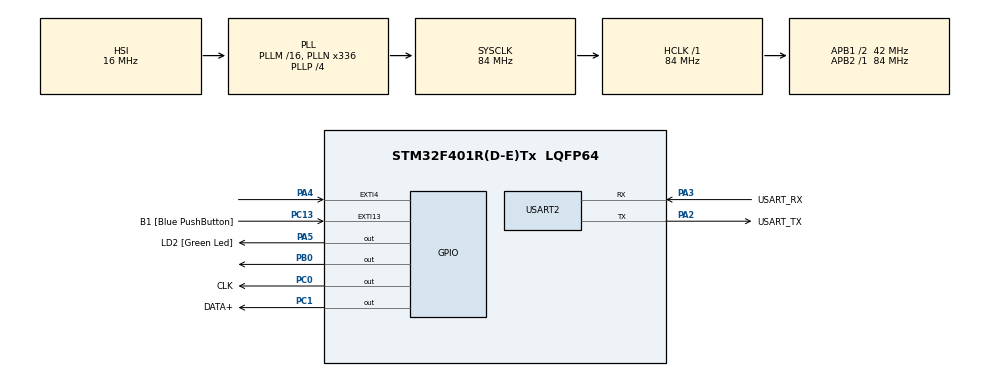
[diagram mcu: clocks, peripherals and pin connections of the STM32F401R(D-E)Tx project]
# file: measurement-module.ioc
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Mcu.Family=STM32F4
Mcu.Name=STM32F401R(D-E)Tx
Mcu.Package=LQFP64
NVIC.EXTI15_10_IRQn=true\:0\:0\:false\:false\:true\:true\:true\:true
NVIC.EXTI4_IRQn=true\:0\:0\:false\:false\:true\:true\:true\:true
NVIC.PriorityGroup=NVIC_PRIORITYGROUP_0
NVIC.TIM1_UP_TIM10_IRQn=true\:0\:0\:false\:false\:true\:true\:true\:true
PA13.GPIO_Label=TMS
PA13.Mode=Serial_Wire
PA13.Signal=SYS_JTMS-SWDIO
PA14.GPIO_Label=TCK
PA14.Mode=Serial_Wire
PA14.Signal=SYS_JTCK-SWCLK
PA2.GPIO_Label=USART_TX
PA2.GPIO_Mode=GPIO_MODE_AF_PP
PA2.GPIO_PuPd=GPIO_NOPULL
PA2.GPIO_Speed=GPIO_SPEED_FREQ_LOW
PA2.Mode=Asynchronous
PA2.Signal=USART2_TX
PA3.GPIO_Label=USART_RX
PA3.GPIO_Mode=GPIO_MODE_AF_PP
PA3.GPIO_PuPd=GPIO_NOPULL
PA3.GPIO_Speed=GPIO_SPEED_FREQ_LOW
PA3.Mode=Asynchronous
PA3.Signal=USART2_RX
PA4.GPIO_ModeDefaultEXTI=GPIO_MODE_IT_FALLING
PA4.Signal=GPXTI4
PA5.GPIO_Label=LD2 [Green Led]
PA5.GPIO_Mode=GPIO_MODE_OUTPUT_PP
PA5.GPIO_PuPd=GPIO_NOPULL
PA5.GPIO_Speed=GPIO_SPEED_FREQ_LOW
PA5.Signal=GPIO_Output
PB0.Signal=GPIO_Output
PB3.GPIO_Label=SWO
PB3.Signal=SYS_JTDO-SWO
PC0.GPIO_Label=CLK
PC0.Signal=GPIO_Output
PC1.GPIO_Label=DATA+
PC1.Signal=GPIO_Output
PC13-ANTI_TAMP.GPIO_Label=B1 [Blue PushButton]
PC13-ANTI_TAMP.GPIO_ModeDefaultEXTI=GPIO_MODE_IT_RISING_FALLING
PC13-ANTI_TAMP.GPIO_PuPd=GPIO_NOPULL
PC13-ANTI_TAMP.Signal=GPXTI13
PC14-OSC32_IN.Mode=LSE-External-Oscillator
PC14-OSC32_IN.Signal=RCC_OSC32_IN
PC15-OSC32_OUT.Mode=LSE-External-Oscillator
PC15-OSC32_OUT.Signal=RCC_OSC32_OUT
PH0\ -\ OSC_IN.Mode=HSE-External-Clock-Source
PH0\ -\ OSC_IN.Signal=RCC_OSC_IN
PH1\ -\ OSC_OUT.Mode=HSE-External-Clock-Source
PH1\ -\ OSC_OUT.Signal=RCC_OSC_OUT
ProjectManager.HeapSize=0x200
ProjectManager.StackSize=0x400
ProjectManager.TargetToolchain=STM32CubeIDE
RCC.48MHZClocksFreq_Value=48000000
RCC.AHBFreq_Value=84000000
RCC.APB1CLKDivider=RCC_HCLK_DIV2
RCC.APB1Freq_Value=42000000
RCC.APB1TimFreq_Value=84000000
RCC.APB2Freq_Value=84000000
RCC.APB2TimFreq_Value=84000000
RCC.CortexFreq_Value=84000000
RCC.HCLKFreq_Value=84000000
RCC.HSE_VALUE=8000000
RCC.HSI_VALUE=16000000
RCC.PLLN=336
RCC.PLLP=RCC_PLLP_DIV4
RCC.PLLQ=7
RCC.SYSCLKFreq_VALUE=84000000
RCC.SYSCLKSource=RCC_SYSCLKSOURCE_PLLCLK
RCC.VCOOutputFreq_Value=336000000
TIM1.Period=1124
TIM1.Prescaler=0
USART2.VirtualMode=VM_ASYNC
VP_TIM1_VS_ClockSourceINT.Mode=Internal
board=NUCLEO-F401RE

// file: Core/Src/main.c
/* USER CODE BEGIN Header */
/**
  ******************************************************************************
  * @file           : main.c
  * @brief          : Main program body
  ******************************************************************************
  * @attention
  *
  * Copyright (c) 2024 STMicroelectronics.
  * All rights reserved.
  *
  * This software is licensed under terms that can be found in the LICENSE file
  * in the root directory of this software component.
  * If no LICENSE file comes with this software, it is provided AS-IS.
  *
  ******************************************************************************
  */
/* USER CODE END Header */
#include "main.h"

/* USER CODE BEGIN Includes */
#include "i2c_tx.h"
#include "ham.h"
#include "lc.h"
/* USER CODE END Includes */

/* USER CODE BEGIN PTD */

typedef struct {
	uint32_t *data;
	size_t length;
} low_pass_filter;

low_pass_filter new_low_pass_filter(size_t length) {
	uint32_t *data = (uint32_t *) malloc(sizeof(uint32_t) * length);
	low_pass_filter filter;
	filter.data = data;
	filter.length = length;
	return filter;
}

uint32_t calculate_low_pass(low_pass_filter filter, uint32_t new_value) {
	uint32_t sum = 0;
	for (int i = 0; i < filter.length - 1; i++) {
		filter.data[i + 1] = filter.data[i];
		sum += filter.data[i];
	}
	return (sum + new_value) / filter.length;
}

/* USER CODE END PTD */

TIM_HandleTypeDef htim1;

UART_HandleTypeDef huart2;

void SystemClock_Config(void);
static void MX_GPIO_Init(void);
static void MX_USART2_UART_Init(void);
static void MX_TIM1_Init(void);

int main(void)
{

  /* MCU Configuration--------------------------------------------------------*/

  /* Reset of all peripherals, Initializes the Flash interface and the Systick. */
  HAL_Init();

  /* Configure the system clock */
  SystemClock_Config();

  /* Initialize all configured peripherals */
  MX_GPIO_Init();
  MX_USART2_UART_Init();
  MX_TIM1_Init();
  /* USER CODE BEGIN 2 */

  void int16_to_bool(uint16_t number, bool arr[16]) {
      for (int i = 0; i < 16; ++i) {
    	  arr[i] = (number >> (15 - i)) & 1;
      }
  }

  I2C_tx_config i2c_config;
  i2c_config.clock_gpio = GPIOC;
  i2c_config.clock_pin = GPIO_PIN_0;
  i2c_config.data_gpio = GPIOC;
  i2c_config.data_pin = GPIO_PIN_1;
  i2c_config.millis_per_tick = 8;
  I2C_tx_driver i2c = new_I2C_tx_driver(i2c_config, 48);

  hx711_config hx711_config;
  hx711_config.dout_gpio = GPIOA;
  hx711_config.dout_pin = GPIO_PIN_4;
  hx711_config.pd_sck_gpio = GPIOB;
  hx711_config.pd_sck_pin = GPIO_PIN_0;
  hx711_config.timer = &htim1;

  init_hx711_driver(hx711_config);

  uint64_t next_data = HAL_GetTick();
  bool data[48];

  uint32_t prev_num = -1;

  /* USER CODE END 2 */

  /* Infinite loop */
  while (1)
  {

    /* USER CODE BEGIN 3 */

	 tick_I2C_tx_driver(&i2c);

	 if (HAL_GetTick() > next_data && poll_hx711_driver(&hx711)) {
		 next_data += 2000;

		 uint32_t num = get_hx711_driver(&hx711);
		 __NOP();
		 if(abs(num-prev_num) < 1500 && num > 15000){ // check if last 2 packets are similar
			 prev_num = num;
			 __NOP();
			 continue;
		 }
		 prev_num = num;
		 __NOP();

		  uint16_t data1 = ham_enc((num >> 22) & 0x7FF);
		  uint16_t data2 = ham_enc((num >> 11) & 0x7FF);
		  uint16_t data3 = ham_enc(num & 0x7FF);

		  int16_to_bool(data1, data);
		  int16_to_bool(data2, data + 16);
		  int16_to_bool(data3, data + 32);

		 send_packet_I2C_driver(&i2c, data);
	 }
  }
  free_I2C_driver(&i2c);
  /* USER CODE END 3 */
}

void SystemClock_Config(void)
{
  RCC_OscInitTypeDef RCC_OscInitStruct = {0};
  RCC_ClkInitTypeDef RCC_ClkInitStruct = {0};

  /** Configure the main internal regulator output voltage
  */
  __HAL_RCC_PWR_CLK_ENABLE();
  __HAL_PWR_VOLTAGESCALING_CONFIG(PWR_REGULATOR_VOLTAGE_SCALE2);

  /** Initializes the RCC Oscillators according to the specified parameters
  * in the RCC_OscInitTypeDef structure.
  */
  RCC_OscInitStruct.OscillatorType = RCC_OSCILLATORTYPE_HSI;
  RCC_OscInitStruct.HSIState = RCC_HSI_ON;
  RCC_OscInitStruct.HSICalibrationValue = RCC_HSICALIBRATION_DEFAULT;
  RCC_OscInitStruct.PLL.PLLState = RCC_PLL_ON;
  RCC_OscInitStruct.PLL.PLLSource = RCC_PLLSOURCE_HSI;
  RCC_OscInitStruct.PLL.PLLM = 16;
  RCC_OscInitStruct.PLL.PLLN = 336;
  RCC_OscInitStruct.PLL.PLLP = RCC_PLLP_DIV4;
  RCC_OscInitStruct.PLL.PLLQ = 7;
  if (HAL_RCC_OscConfig(&RCC_OscInitStruct) != HAL_OK)
  {
    Error_Handler();
  }

  /** Initializes the CPU, AHB and APB buses clocks
  */
  RCC_ClkInitStruct.ClockType = RCC_CLOCKTYPE_HCLK|RCC_CLOCKTYPE_SYSCLK
                              |RCC_CLOCKTYPE_PCLK1|RCC_CLOCKTYPE_PCLK2;
  RCC_ClkInitStruct.SYSCLKSource = RCC_SYSCLKSOURCE_PLLCLK;
  RCC_ClkInitStruct.AHBCLKDivider = RCC_SYSCLK_DIV1;
  RCC_ClkInitStruct.APB1CLKDivider = RCC_HCLK_DIV2;
  RCC_ClkInitStruct.APB2CLKDivider = RCC_HCLK_DIV1;

  if (HAL_RCC_ClockConfig(&RCC_ClkInitStruct, FLASH_LATENCY_2) != HAL_OK)
  {
    Error_Handler();
  }
}

static void MX_TIM1_Init(void)
{

  TIM_ClockConfigTypeDef sClockSourceConfig = {0};
  TIM_MasterConfigTypeDef sMasterConfig = {0};

  htim1.Instance = TIM1;
  htim1.Init.Prescaler = 0;
  htim1.Init.CounterMode = TIM_COUNTERMODE_UP;
  htim1.Init.Period = 1124;
  htim1.Init.ClockDivision = TIM_CLOCKDIVISION_DIV1;
  htim1.Init.RepetitionCounter = 0;
  htim1.Init.AutoReloadPreload = TIM_AUTORELOAD_PRELOAD_DISABLE;
  if (HAL_TIM_Base_Init(&htim1) != HAL_OK)
  {
    Error_Handler();
  }
  sClockSourceConfig.ClockSource = TIM_CLOCKSOURCE_INTERNAL;
  if (HAL_TIM_ConfigClockSource(&htim1, &sClockSourceConfig) != HAL_OK)
  {
    Error_Handler();
  }
  sMasterConfig.MasterOutputTrigger = TIM_TRGO_RESET;
  sMasterConfig.MasterSlaveMode = TIM_MASTERSLAVEMODE_DISABLE;
  if (HAL_TIMEx_MasterConfigSynchronization(&htim1, &sMasterConfig) != HAL_OK)
  {
    Error_Handler();
  }

}

static void MX_USART2_UART_Init(void)
{

  huart2.Instance = USART2;
  huart2.Init.BaudRate = 115200;
  huart2.Init.WordLength = UART_WORDLENGTH_8B;
  huart2.Init.StopBits = UART_STOPBITS_1;
  huart2.Init.Parity = UART_PARITY_NONE;
  huart2.Init.Mode = UART_MODE_TX_RX;
  huart2.Init.HwFlowCtl = UART_HWCONTROL_NONE;
  huart2.Init.OverSampling = UART_OVERSAMPLING_16;
  if (HAL_UART_Init(&huart2) != HAL_OK)
  {
    Error_Handler();
  }

}

static void MX_GPIO_Init(void)
{
  GPIO_InitTypeDef GPIO_InitStruct = {0};

  /* GPIO Ports Clock Enable */
  __HAL_RCC_GPIOC_CLK_ENABLE();
  __HAL_RCC_GPIOH_CLK_ENABLE();
  __HAL_RCC_GPIOA_CLK_ENABLE();
  __HAL_RCC_GPIOB_CLK_ENABLE();

  /*Configure GPIO pin Output Level */
  HAL_GPIO_WritePin(GPIOC, CLK_Pin|DATA__Pin, GPIO_PIN_RESET);

  /*Configure GPIO pin Output Level */
  HAL_GPIO_WritePin(LD2_GPIO_Port, LD2_Pin, GPIO_PIN_RESET);

  /*Configure GPIO pin Output Level */
  HAL_GPIO_WritePin(GPIOB, GPIO_PIN_0, GPIO_PIN_RESET);

  /*Configure GPIO pin : B1_Pin */
  GPIO_InitStruct.Pin = B1_Pin;
  GPIO_InitStruct.Mode = GPIO_MODE_IT_RISING_FALLING;
  GPIO_InitStruct.Pull = GPIO_NOPULL;
  HAL_GPIO_Init(B1_GPIO_Port, &GPIO_InitStruct);

  /*Configure GPIO pins : CLK_Pin DATA__Pin */
  GPIO_InitStruct.Pin = CLK_Pin|DATA__Pin;
  GPIO_InitStruct.Mode = GPIO_MODE_OUTPUT_PP;
  GPIO_InitStruct.Pull = GPIO_NOPULL;
  GPIO_InitStruct.Speed = GPIO_SPEED_FREQ_LOW;
  HAL_GPIO_Init(GPIOC, &GPIO_InitStruct);

  /*Configure GPIO pin : PA4 */
  GPIO_InitStruct.Pin = GPIO_PIN_4;
  GPIO_InitStruct.Mode = GPIO_MODE_IT_FALLING;
  GPIO_InitStruct.Pull = GPIO_NOPULL;
  HAL_GPIO_Init(GPIOA, &GPIO_InitStruct);

  /*Configure GPIO pin : LD2_Pin */
  GPIO_InitStruct.Pin = LD2_Pin;
  GPIO_InitStruct.Mode = GPIO_MODE_OUTPUT_PP;
  GPIO_InitStruct.Pull = GPIO_NOPULL;
  GPIO_InitStruct.Speed = GPIO_SPEED_FREQ_LOW;
  HAL_GPIO_Init(LD2_GPIO_Port, &GPIO_InitStruct);

  /*Configure GPIO pin : PB0 */
  GPIO_InitStruct.Pin = GPIO_PIN_0;
  GPIO_InitStruct.Mode = GPIO_MODE_OUTPUT_PP;
  GPIO_InitStruct.Pull = GPIO_NOPULL;
  GPIO_InitStruct.Speed = GPIO_SPEED_FREQ_LOW;
  HAL_GPIO_Init(GPIOB, &GPIO_InitStruct);

  /* EXTI interrupt init*/
  HAL_NVIC_SetPriority(EXTI4_IRQn, 0, 0);
  HAL_NVIC_EnableIRQ(EXTI4_IRQn);

  HAL_NVIC_SetPriority(EXTI15_10_IRQn, 0, 0);
  HAL_NVIC_EnableIRQ(EXTI15_10_IRQn);

}

void Error_Handler(void)
{
  __disable_irq();
  while (1)
  {
  }
}
